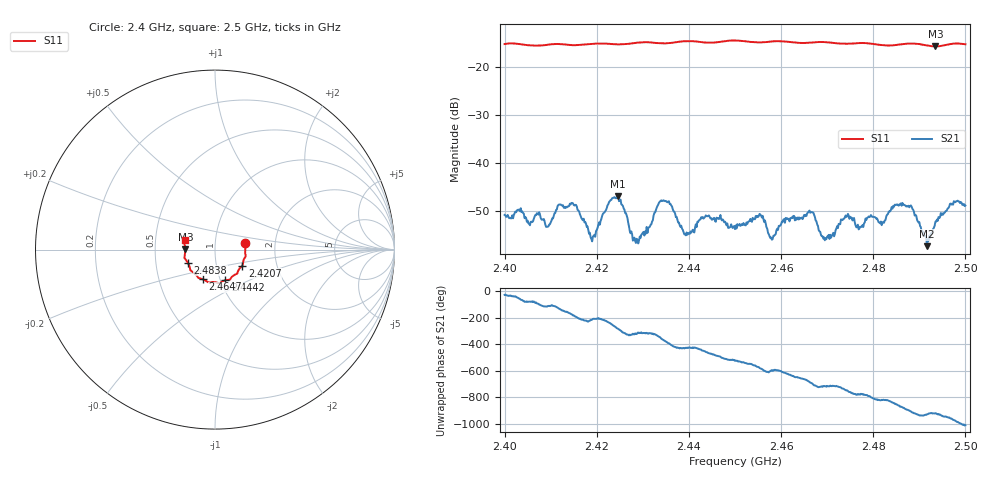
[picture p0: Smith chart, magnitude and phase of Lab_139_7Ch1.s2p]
# Hz S RI R 50
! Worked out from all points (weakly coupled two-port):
!   601 points, 2.4 GHz to 2.5 GHz, reference 50 ohm
!   highest |S21| = -46.89 dB at 2.4245 GHz (marker M1); lowest = -57.3 dB at 2.4917 GHz (marker M2)
!   lowest |S11| = -15.7 dB at 2.4935 GHz (marker M3), VSWR 1.39, Z = 35.9 + j0.152 ohm
!   |S11| at or under -10 dB: start of sweep to end of sweep
!   S12 and S22 are empty: the file has one direction only
!   S11 on the Smith chart (normalised r, x): 2.4 GHz: 1.40, +0.11; 2.4207 GHz: 1.33, -0.24; 2.4442 GHz: 1.05, -0.37; 2.4647 GHz: 0.83, -0.28; 2.4838 GHz: 0.73, -0.11; 2.5 GHz: 0.71, +0.08
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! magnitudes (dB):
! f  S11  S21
! 2.4 GHz  -15.2  -50.8
! 2.4167 GHz  -15.3  -51.4
! 2.4192 GHz  -15.1  -55.3
! 2.4207 GHz  -15.1  -52.8
! 2.4245 GHz  -15.2  -46.9
! 2.4285 GHz  -14.9  -56.6
! 2.4333 GHz  -15.0  -48.6
! 2.4393 GHz  -14.6  -55.0
! 2.4442 GHz  -14.9  -51.0
! 2.45 GHz  -14.4  -53.7
! 2.4555 GHz  -14.8  -50.7
! 2.458 GHz  -14.6  -55.9
! 2.4647 GHz  -15.0  -51.7
! 2.4667 GHz  -14.9  -50.2
! 2.4697 GHz  -14.8  -55.6
! 2.4742 GHz  -15.1  -51.2
! 2.4833 GHz  -15.5  -50.2
! 2.4838 GHz  -15.5  -49.7
! 2.4882 GHz  -15.1  -48.8
! 2.4917 GHz  -15.5  -57.3
! 2.4935 GHz  -15.7  -52.2
! 2.5 GHz  -15.2  -48.8
